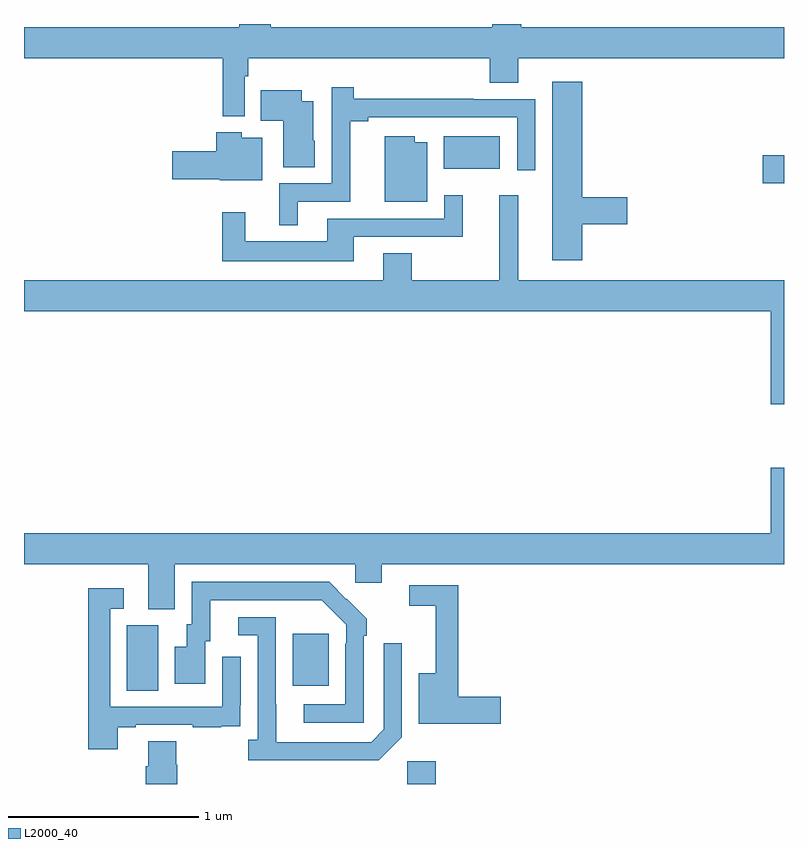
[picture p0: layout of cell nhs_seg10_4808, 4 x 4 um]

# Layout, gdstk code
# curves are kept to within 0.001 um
import gdstk
lib = gdstk.Library(unit=1e-6, precision=1e-09)
def R(c, l, rs):  # rectangles x0, y0, x1, y1
    for r in rs: c.add(gdstk.rectangle(r[:2], r[2:], *l))
def P(c, l, *ps):  # polygons
    for p in ps: c.add(gdstk.Polygon(p, *l))
L2000_40 = (2000, 40)

nhs_seg10_4808 = lib.new_cell('nhs_seg10_4808')
R(nhs_seg10_4808, L2000_40, [(389.016,1292.5,389.168,1292.62), (387.542,1292.992,387.706,1293.336), (388.415,1293.017,388.603,1293.292), (390.888,1295.663,391,1295.81), (389.21,1295.738,389.503,1295.908)])
P(nhs_seg10_4808, L2000_40, [(388.161,1296.224),(388.181,1296.224),(388.181,1296.32),(389.45,1296.32),(389.45,1296.19),(389.602,1296.19),(389.602,1296.32),(391,1296.32),(391,1296.484),(389.617,1296.484),(389.617,1296.5),(389.465,1296.5),(389.465,1296.484),(388.298,1296.484),(388.298,1296.5),(388.133,1296.5),(388.133,1296.484),(387,1296.484),(387,1296.32),(388.045,1296.32),(388.045,1296.014),(388.161,1296.014)],
  [(389.939,1295.446),(390.175,1295.446),(390.175,1295.588),(389.939,1295.588),(389.939,1296.196),(389.78,1296.196),(389.78,1295.256),(389.939,1295.256)],
  [(388.441,1295.565),(388.718,1295.565),(388.718,1295.989),(388.813,1295.989),(388.813,1296.009),(389.595,1296.009),(389.595,1295.73),(389.691,1295.73),(389.691,1296.105),(389.366,1296.105),(389.366,1296.107),(388.736,1296.107),(388.736,1296.166),(388.62,1296.166),(388.62,1295.661),(388.343,1295.661),(388.343,1295.441),(388.441,1295.441)],
  [(388.531,1295.886),(388.522,1295.886),(388.522,1296.094),(388.462,1296.094),(388.462,1296.151),(388.246,1296.151),(388.246,1295.99),(388.364,1295.99),(388.364,1295.746),(388.531,1295.746)],
  [(388.255,1295.902),(388.146,1295.902),(388.146,1295.929),(388.013,1295.929),(388.013,1295.831),(387.78,1295.831),(387.78,1295.684),(388.029,1295.684),(388.029,1295.678),(388.255,1295.678)],
  [(389.122,1295.878),(389.056,1295.878),(389.056,1295.908),(388.898,1295.908),(388.898,1295.564),(389.122,1295.564)],
  [(391,1295.152),(389.6,1295.152),(389.6,1295.599),(389.501,1295.599),(389.501,1295.152),(389.04,1295.152),(389.04,1295.294),(388.892,1295.294),(388.892,1295.152),(387,1295.152),(387,1294.988),(390.931,1294.988),(390.931,1294.5),(391,1294.5)],
  [(388.735,1295.379),(389.309,1295.379),(389.309,1295.599),(389.211,1295.599),(389.211,1295.475),(388.595,1295.475),(388.595,1295.356),(388.165,1295.356),(388.165,1295.509),(388.044,1295.509),(388.044,1295.252),(388.735,1295.252)],
  [(387.793,1293.656),(388.743,1293.656),(388.743,1293.558),(388.882,1293.558),(388.882,1293.656),(391,1293.656),(391,1294.165),(390.931,1294.165),(390.931,1293.82),(387,1293.82),(387,1293.656),(387.653,1293.656),(387.653,1293.421),(387.793,1293.421)],
  [(388.788,1293.281),(388.803,1293.281),(388.803,1293.369),(388.606,1293.564),(387.882,1293.564),(387.882,1293.342),(387.857,1293.342),(387.857,1293.223),(387.794,1293.223),(387.794,1293.027),(387.955,1293.027),(387.955,1293.252),(387.979,1293.252),(387.979,1293.468),(388.567,1293.468),(388.695,1293.339),(388.695,1293.239),(388.692,1293.239),(388.692,1292.919),(388.473,1292.919),(388.473,1292.823),(388.788,1292.823)],
  [(389.509,1292.96),(389.285,1292.96),(389.285,1293.546),(389.028,1293.546),(389.028,1293.438),(389.168,1293.438),(389.168,1293.082),(389.078,1293.082),(389.078,1292.818),(389.509,1292.818)],
  [(387.493,1292.799),(387.589,1292.799),(387.589,1292.811),(387.889,1292.811),(387.889,1292.799),(388.037,1292.799),(388.037,1292.805),(388.139,1292.805),(388.139,1292.914),(388.14,1292.914),(388.14,1293.169),(388.044,1293.169),(388.044,1292.907),(387.453,1292.907),(387.453,1293.423),(387.526,1293.423),(387.526,1293.529),(387.337,1293.529),(387.337,1292.682),(387.493,1292.682)],
  [(388.989,1292.745),(388.989,1293.241),(388.893,1293.241),(388.893,1292.787),(388.827,1292.721),(388.327,1292.721),(388.326,1293.378),(388.128,1293.378),(388.128,1293.282),(388.23,1293.282),(388.23,1292.734),(388.179,1292.734),(388.179,1292.624),(388.868,1292.624)],
  [(387.806,1292.601),(387.801,1292.601),(387.801,1292.726),(387.653,1292.726),(387.653,1292.594),(387.641,1292.594),(387.641,1292.5),(387.806,1292.5)])

lib.write_gds('nhs_seg10_4808.gds')
